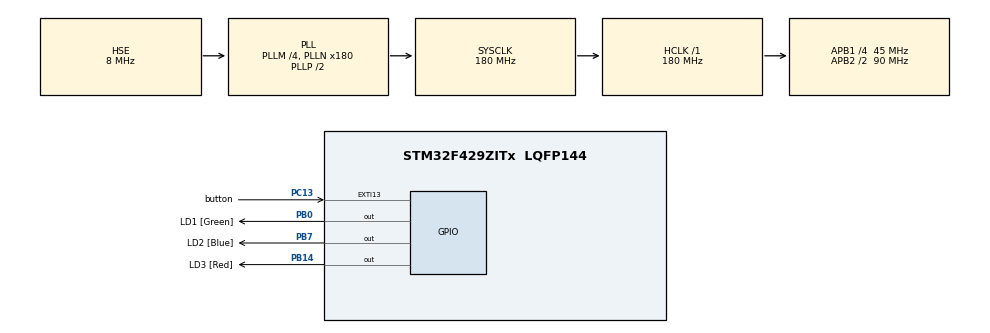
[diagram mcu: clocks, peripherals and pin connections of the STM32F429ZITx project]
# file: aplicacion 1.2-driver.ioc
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Mcu.Family=STM32F4
Mcu.Name=STM32F429ZITx
Mcu.Package=LQFP144
NVIC.PriorityGroup=NVIC_PRIORITYGROUP_4
PB0.GPIO_Label=LD1 [Green]
PB0.Signal=GPIO_Output
PB14.GPIO_Label=LD3 [Red]
PB14.Signal=GPIO_Output
PB7.GPIO_Label=LD2 [Blue]
PB7.Signal=GPIO_Output
PC13.GPIO_Label=button
PC13.Signal=GPXTI13
PH0/OSC_IN.Mode=HSE-External-Oscillator
PH0/OSC_IN.Signal=RCC_OSC_IN
PH1/OSC_OUT.Mode=HSE-External-Oscillator
PH1/OSC_OUT.Signal=RCC_OSC_OUT
ProjectManager.HeapSize=0x200
ProjectManager.StackSize=0x400
ProjectManager.TargetToolchain=STM32CubeIDE
RCC.48MHZClocksFreq_Value=51428571.428571425
RCC.AHBFreq_Value=180000000
RCC.APB1CLKDivider=RCC_HCLK_DIV4
RCC.APB1Freq_Value=45000000
RCC.APB1TimFreq_Value=90000000
RCC.APB2CLKDivider=RCC_HCLK_DIV2
RCC.APB2Freq_Value=90000000
RCC.APB2TimFreq_Value=180000000
RCC.CortexFreq_Value=180000000
RCC.HCLKFreq_Value=180000000
RCC.HSE_VALUE=8000000
RCC.HSI_VALUE=16000000
RCC.PLLM=4
RCC.PLLMUL=RCC_PLL_MUL9
RCC.PLLN=180
RCC.PLLQ=7
RCC.PLLSourceVirtual=RCC_PLLSOURCE_HSE
RCC.PRESCALERUSB=RCC_USBCLKSOURCE_PLL_DIV1_5
RCC.SYSCLKFreq_VALUE=180000000
RCC.SYSCLKSource=RCC_SYSCLKSOURCE_PLLCLK
RCC.SYSCLKSourceVirtual=RCC_SYSCLKSOURCE_PLLCLK
RCC.USBFreq_Value=48000000
RCC.VCOOutputFreq_Value=360000000
board=NUCLEO-F429ZI

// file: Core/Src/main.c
/* USER CODE BEGIN Header */
/**
  ******************************************************************************
  * @file           : main.c
  * @brief          : Main program body
  ******************************************************************************
  */
/* USER CODE END Header */

#include "main.h"

/* USER CODE BEGIN Includes */
#include "API_GPIO.h"
/* USER CODE END Includes */

/* USER CODE BEGIN PTD */
typedef enum {
    DIR_FORWARD = 0,
    DIR_BACKWARD
} SequenceDirection_t;
/* USER CODE END PTD */

/* USER CODE BEGIN PV */
SequenceDirection_t direction = DIR_FORWARD;
/* USER CODE END PV */

void SystemClock_Config(void);
static void MX_GPIO_Init(void);
/* USER CODE BEGIN PFP */
void checkButtonAndUpdateDirection(void);
void blinkLED(GPIO_TypeDef* GPIOx, uint16_t GPIO_Pin);
/* USER CODE END PFP */

/* USER CODE BEGIN 0 */

/**

  */
void checkButtonAndUpdateDirection(void) {
    /* Si tu botón es Active High (NUCLEO board típica), busca SET.
       Si es Active Low, cámbialo a API_GPIO_PIN_RESET. */
    if (readPin(button_GPIO_Port, button_Pin) == API_GPIO_PIN_SET) {
        HAL_Delay(50); // Antirrebote simple
        if (readPin(button_GPIO_Port, button_Pin) == API_GPIO_PIN_SET) {
            // Cambiar dirección
            direction = (direction == DIR_FORWARD) ? DIR_BACKWARD : DIR_FORWARD;

            // Esperar a que se suelte el botón
            while (readPin(button_GPIO_Port, button_Pin) == API_GPIO_PIN_SET);
        }
    }
}

/**
  * @brief  Enciende un LED durante 200ms revisando el botón de forma no bloqueante.
  */
void blinkLED(GPIO_TypeDef* GPIOx, uint16_t GPIO_Pin) {
    writePin(GPIOx, GPIO_Pin, API_GPIO_PIN_SET);

    // Verificamos el botón durante los 200ms de espera
    for (int i = 0; i < 20; i++) {
        checkButtonAndUpdateDirection();
        HAL_Delay(10);
    }

    writePin(GPIOx, GPIO_Pin, API_GPIO_PIN_RESET);
}
/* USER CODE END 0 */

int main(void)
{
  HAL_Init();
  SystemClock_Config();
  MX_GPIO_Init();

  /* Infinite loop */
  /* USER CODE BEGIN WHILE */
  while (1)
  {
      if (direction == DIR_FORWARD)
      {
          /* Secuencia normal */
          blinkLED(LD1_GPIO_Port, LD1_Pin);
          blinkLED(LD2_GPIO_Port, LD2_Pin);
          blinkLED(LD3_GPIO_Port, LD3_Pin);
      }
      else
      {
          /* Secuencia inversa */
          blinkLED(LD3_GPIO_Port, LD3_Pin);
          blinkLED(LD2_GPIO_Port, LD2_Pin);
          blinkLED(LD1_GPIO_Port, LD1_Pin);
      }
  }
}

void SystemClock_Config(void)
{
  RCC_OscInitTypeDef RCC_OscInitStruct = {0};
  RCC_ClkInitTypeDef RCC_ClkInitStruct = {0};

  __HAL_RCC_PWR_CLK_ENABLE();
  __HAL_PWR_VOLTAGESCALING_CONFIG(PWR_REGULATOR_VOLTAGE_SCALE1);

  RCC_OscInitStruct.OscillatorType = RCC_OSCILLATORTYPE_HSE;
  RCC_OscInitStruct.HSEState = RCC_HSE_ON;
  RCC_OscInitStruct.PLL.PLLState = RCC_PLL_ON;
  RCC_OscInitStruct.PLL.PLLSource = RCC_PLLSOURCE_HSE;
  RCC_OscInitStruct.PLL.PLLM = 4;
  RCC_OscInitStruct.PLL.PLLN = 180;
  RCC_OscInitStruct.PLL.PLLP = RCC_PLLP_DIV2;
  RCC_OscInitStruct.PLL.PLLQ = 7;
  if (HAL_RCC_OscConfig(&RCC_OscInitStruct) != HAL_OK)
  {
    Error_Handler();
  }

  if (HAL_PWREx_EnableOverDrive() != HAL_OK)
  {
    Error_Handler();
  }

  RCC_ClkInitStruct.ClockType = RCC_CLOCKTYPE_HCLK|RCC_CLOCKTYPE_SYSCLK
                              |RCC_CLOCKTYPE_PCLK1|RCC_CLOCKTYPE_PCLK2;
  RCC_ClkInitStruct.SYSCLKSource = RCC_SYSCLKSOURCE_PLLCLK;
  RCC_ClkInitStruct.AHBCLKDivider = RCC_SYSCLK_DIV1;
  RCC_ClkInitStruct.APB1CLKDivider = RCC_HCLK_DIV4;
  RCC_ClkInitStruct.APB2CLKDivider = RCC_HCLK_DIV2;

  if (HAL_RCC_ClockConfig(&RCC_ClkInitStruct, FLASH_LATENCY_5) != HAL_OK)
  {
    Error_Handler();
  }
}

static void MX_GPIO_Init(void)
{
  GPIO_InitTypeDef GPIO_InitStruct = {0};

  /* Activar relojes de los puertos */
  __HAL_RCC_GPIOC_CLK_ENABLE();
  __HAL_RCC_GPIOH_CLK_ENABLE();
  __HAL_RCC_GPIOB_CLK_ENABLE();

  /* Nivel inicial de los LEDs */
  HAL_GPIO_WritePin(GPIOB, LD1_Pin|LD3_Pin|LD2_Pin, GPIO_PIN_RESET);

  /* Configurar pin del Botón */
  GPIO_InitStruct.Pin = button_Pin;
  GPIO_InitStruct.Mode = GPIO_MODE_INPUT; // Cambiado a entrada simple para lectura por polling
  GPIO_InitStruct.Pull = GPIO_NOPULL;
  HAL_GPIO_Init(button_GPIO_Port, &GPIO_InitStruct);

  /* Configurar pines de los LEDs */
  GPIO_InitStruct.Pin = LD1_Pin|LD3_Pin|LD2_Pin;
  GPIO_InitStruct.Mode = GPIO_MODE_OUTPUT_PP;
  GPIO_InitStruct.Pull = GPIO_NOPULL;
  GPIO_InitStruct.Speed = GPIO_SPEED_FREQ_LOW;
  HAL_GPIO_Init(GPIOB, &GPIO_InitStruct);
}

void Error_Handler(void)
{
  __disable_irq();
  while (1)
  {
  }
}
